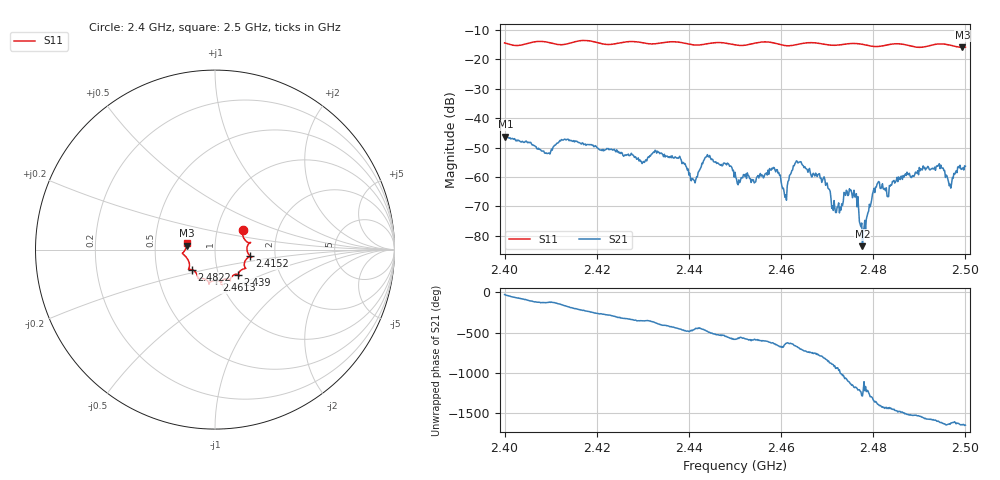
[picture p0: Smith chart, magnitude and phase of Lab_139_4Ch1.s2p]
# Hz S RI R 50
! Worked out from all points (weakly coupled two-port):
!   601 points, 2.4 GHz to 2.5 GHz, reference 50 ohm
!   highest |S21| = -46.32 dB at 2.4002 GHz (marker M1); lowest = -83.6 dB at 2.4777 GHz (marker M2)
!   lowest |S11| = -15.9 dB at 2.4993 GHz (marker M3), VSWR 1.38, Z = 36.3 + j1.65 ohm
!   |S11| at or under -10 dB: start of sweep to end of sweep
!   S12 and S22 are empty: the file has one direction only
!   S11 on the Smith chart (normalised r, x): 2.4 GHz: 1.33, +0.31; 2.4152 GHz: 1.48, -0.11; 2.439 GHz: 1.24, -0.36; 2.4613 GHz: 0.96, -0.34; 2.4822 GHz: 0.75, -0.17; 2.5 GHz: 0.73, +0.05
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2.4e9  0.155 0.1116  0.00423 -0.00224  0 0  0 0
2.400167e9  0.1545 0.1093  0.0041 -0.00255  0 0  0 0
2.409333e9  0.1926 0.0374  -0.00148 -0.00202  0 0  0 0
2.415167e9  0.1953 -0.0363  -0.00364 0.00149  0 0  0 0
2.416667e9  0.2048 -0.0423  -0.00276 0.00234  0 0  0 0
2.433333e9  0.1322 -0.1323  0.00219 -0.00146  0 0  0 0
2.439e9  0.1281 -0.1389  -0.000763 -0.00148  0 0  0 0
2.441e9  0.1087 -0.1391  -0.000269 -0.000849  0 0  0 0
2.444e9  0.0855 -0.1638  -0.00136 -0.00197  0 0  0 0
2.45e9  0.0685 -0.1635  -0.000878 0.000821  0 0  0 0
2.4585e9  0.0371 -0.1864  0.000275 0.00141  0 0  0 0
2.461333e9  0.0076 -0.1705  -3.59e-05 0.000696  0 0  0 0
2.4635e9  -0.0222 -0.178  0.00133 0.00127  0 0  0 0
2.466667e9  -0.0332 -0.1899  0.000825 -0.000559  0 0  0 0
2.4715e9  -0.0592 -0.1633  -0.00037 0.000141  0 0  0 0
2.475333e9  -0.0927 -0.1619  0.000139 -0.000519  0 0  0 0
2.477667e9  -0.0965 -0.1524  -5.84e-05 3.15e-05  0 0  0 0
2.4805e9  -0.1113 -0.1223  6.99e-05 0.000664  0 0  0 0
2.482167e9  -0.1285 -0.1121  0.000621 9.33e-05  0 0  0 0
2.483333e9  -0.1397 -0.1104  0.000462 -3.25e-05  0 0  0 0
2.499333e9  -0.1586 0.0221  -0.00122 0.000642  0 0  0 0
2.5e9  -0.1579 0.0342  -0.00131 0.000774  0 0  0 0
